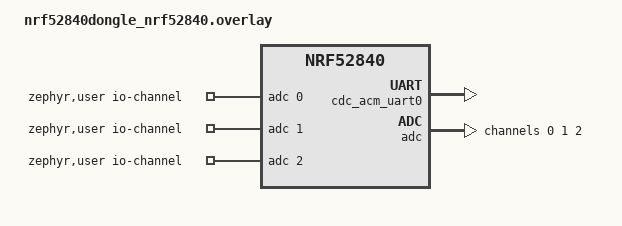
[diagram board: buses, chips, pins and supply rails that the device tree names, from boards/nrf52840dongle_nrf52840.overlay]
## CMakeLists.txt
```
# SPDX-License-Identifier: Apache-2.0
cmake_minimum_required(VERSION 3.20.0)
find_package(Zephyr HINTS $ENV{ZEPHYR_BASE})
project(ADC)
target_sources(app PRIVATE src/main.c)
target_sources(app PRIVATE src/my_lbs.c)
target_sources(app PRIVATE src/adc.c)
zephyr_library_include_directories(.)
```

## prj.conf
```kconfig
# Logger module
CONFIG_LOG=y

# Button and LED library   
CONFIG_DK_LIBRARY=y


CONFIG_ADC=y

CONFIG_BT=y
CONFIG_BT_PERIPHERAL=y
CONFIG_BT_DEVICE_NAME="Group15"

# Increase stack size for the main thread and System Workqueue
CONFIG_SYSTEM_WORKQUEUE_STACK_SIZE=2048
CONFIG_MAIN_STACK_SIZE=2048
CONFIG_BT_BUF_ACL_TX_SIZE=251
CONFIG_BT_BUF_ACL_RX_SIZE=251
CONFIG_BT_L2CAP_TX_BUF_COUNT=128
CONFIG_BT_MAX_CONN=2
```

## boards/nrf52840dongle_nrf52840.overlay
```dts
/*
 * Copyright (c) 2021 Nordic Semiconductor ASA
 *
 * SPDX-License-Identifier: LicenseRef-Nordic-5-Clause
 */

/ {
	chosen {
		zephyr,console = &cdc_acm_uart0;
	};
};
/{
	zephyr,user {
		io-channels = <&adc 0>, <&adc 1>, <&adc 2>;
	};
};

&zephyr_udc0 {
	cdc_acm_uart0: cdc_acm_uart0 {
		compatible = "zephyr,cdc-acm-uart";
	};
};
&adc {
	status = "okay";
	#address-cells = <1>;
	#size-cells = <0>;

	channel@0 {
		reg = <0>;
		zephyr,gain = "ADC_GAIN_1_6";
		zephyr,reference = "ADC_REF_INTERNAL";
		zephyr,acquisition-time = <ADC_ACQ_TIME_DEFAULT>;
		zephyr,input-positive = <NRF_SAADC_AIN0>; /* P0.03 */
		zephyr,resolution = <12>;
	};

	channel@1 {
		reg = <1>;
		zephyr,gain = "ADC_GAIN_1_6";
		zephyr,reference = "ADC_REF_INTERNAL";
		zephyr,acquisition-time = <ADC_ACQ_TIME_DEFAULT>;
		zephyr,input-positive = <NRF_SAADC_AIN1>;
		zephyr,resolution = <12>;
		//zephyr,oversampling = <8>;
	};

	channel@2 {
		reg = <2>;
		zephyr,gain = "ADC_GAIN_1_6";
		zephyr,reference = "ADC_REF_INTERNAL";
		zephyr,acquisition-time = <ADC_ACQ_TIME_DEFAULT>;
		zephyr,input-positive = <NRF_SAADC_AIN2>;
		zephyr,resolution = <12>;
		//zephyr,oversampling = <8>;
	};


};
```

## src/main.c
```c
/*
 * Copyright (c) 2020 Libre Solar Technologies GmbH
 *
 * SPDX-License-Identifier: Apache-2.0
 */
#include <zephyr/logging/log.h>
#include <dk_buttons_and_leds.h>
#include <inttypes.h>
#include <stddef.h>
#include <stdint.h>
#include <zephyr/kernel.h>
#include <zephyr/sys/printk.h>
#include <zephyr/sys/util.h>
#include "adc.h"
#include <zephyr/device.h>
#include <zephyr/devicetree.h>
#include <zephyr/logging/log.h>
#include <zephyr/bluetooth/bluetooth.h>
#include <zephyr/bluetooth/gap.h>
#include <zephyr/bluetooth/uuid.h>
#include <zephyr/bluetooth/conn.h>
#include <math.h>
#include "my_lbs.h"
#include "centerPoints.h"
#include "centerPoints.h"

#define USER_BUTTON DK_BTN2_MSK
#define CON_STATUS_LED DK_LED2
#define USER_LED DK_LED3
static bool app_button_state;
static struct bt_le_adv_param *adv_param = BT_LE_ADV_PARAM(
    (BT_LE_ADV_OPT_CONNECTABLE | BT_LE_ADV_OPT_USE_IDENTITY),
    800,
    801,
    NULL);

LOG_MODULE_REGISTER(MAIN, LOG_LEVEL_INF);
	uint32_t i= 4;
#define STACKSIZE 1024
#define PRIORITY 7

static const struct bt_data ad[] = {
    BT_DATA_BYTES(BT_DATA_FLAGS, (BT_LE_AD_GENERAL | BT_LE_AD_NO_BREDR)),
    BT_DATA(BT_DATA_NAME_COMPLETE, CONFIG_BT_DEVICE_NAME, sizeof(CONFIG_BT_DEVICE_NAME) - 1),
};


static const struct bt_data sd[] = {
    BT_DATA_BYTES(BT_DATA_UUID128_ALL, BT_UUID_LBS_VAL),
};
bool pressed;
static void button_changed(uint32_t button_state, uint32_t has_changed)
{
	if (has_changed & USER_BUTTON) {
		if (pressed){
			pressed=false;
		/*uint32_t user_button_state = button_state & USER_BUTTON;
		my_lbs_send_button_state_indicate(user_button_state);
		app_button_state = user_button_state ? true : false;*/	
		send_data_button();
	}else {
		pressed = true;
	}}
}

int indexOF(int arr[]){
	int koko = sizeof(arr) + 2;
	int min = arr[0];
	for (int i = 0; i < koko; i++){
		if (min>arr[i]){
			min = arr[i];
		}
	}
	for (int i = 0; i < koko; i++){
		if (arr[i] == min){
			return i;
		}
	}
}

int suunta(int x, int y, int z){
	int lahin[6];
	lahin[0] = sqrt(pow((x-centerpoint[0][0]),2)+ pow((y-centerpoint[0][1]),2)+pow((z-centerpoint[0][2]),2));
	lahin[1] = sqrt(pow((x-centerpoint[1][0]),2)+ pow((y-centerpoint[1][1]),2)+pow((z-centerpoint[1][2]),2));
	lahin[2] = sqrt(pow((x-centerpoint[2][0]),2)+ pow((y-centerpoint[2][1]),2)+pow((z-centerpoint[2][2]),2));
	lahin[3] = sqrt(pow((x-centerpoint[3][0]),2)+ pow((y-centerpoint[3][1]),2)+pow((z-centerpoint[3][2]),2));
	lahin[4] = sqrt(pow((x-centerpoint[4][0]),2)+ pow((y-centerpoint[4][1]),2)+pow((z-centerpoint[4][2]),2));
	lahin[5] = sqrt(pow((x-centerpoint[5][0]),2)+ pow((y-centerpoint[5][1]),2)+pow((z-centerpoint[5][2]),2));
	int xyz = (x-centerpoint[0][0]);
	int mininumValue = indexOF(lahin);
	return mininumValue;
}

static int init_button(void)
{
	int err;

	err = dk_buttons_init(button_changed);
	if (err) {
		printk("Cannot init buttons (err: %d)\n", err);
	}

	return err;
}

static void on_connected(struct bt_conn *conn, uint8_t err)
{
	if (err) {
		printk("Connection failed (err %u)\n", err);
		return;
	}

	printk("Connected\n");

	dk_set_led_on(CON_STATUS_LED);
}

static void on_disconnected(struct bt_conn *conn, uint8_t reason)
{
	printk("Disconnected (reason %u)\n", reason);

	dk_set_led_off(CON_STATUS_LED);
}

struct bt_conn_cb connection_callbacks = {
	.connected = on_connected,
	.disconnected = on_disconnected,
};

static void simulate_data(struct Measurement *measurement)
{
    *measurement = readADCValue();
}
static void app_led_cb(bool led_state)
{
	dk_set_led(USER_LED, led_state);
}

static bool app_button_cb(void)
{

	return app_button_state;
}

void send_data_thread(void)
{
	while(1){
	struct Measurement m = readADCValue();
        //my_lbs_send_sensor_notify(m.x, m.y,m.z,i);
        buttonprint();
		k_sleep(K_SECONDS(2));
        //printk("x = %d,  y = %d,  z = %d, suunta= %d\n", m.x, m.y, m.z,i);
	}
}
void buttonprint(void){
	struct Measurement m = readADCValue();
    
    printk("x = %d,  y = %d,  z = %d, suunta= %d\n", m.x, m.y, m.z, suunta(m.x, m.y, m.z));
}

void send_data_button(void)
{
	/*for (int a = 0; a < 50; ++a) {
        send_data_thread();
		k_sleep(K_SECONDS(0.1));
	}
	i++;*/
	buttonprint();
}
static struct my_lbs_cb app_callbacks = {
	.led_cb = app_led_cb,
	.button_cb = app_button_cb,
};


void main(void)
{
    int blink_status = 0;
    int err;

    LOG_INF("Starting Main\n");

	if(initializeADC() != 0)
	{
	printk("ADC initialization failed!");
	return;
	}

    err = init_button();
	if (err) {
		printk("Button init failed (err %d)\n", err);
		return;
	}
    
    err = bt_enable(NULL);
	if (err) {
		LOG_ERR("Bluetooth init failed (err %d)\n", err);
		return;
	}
	bt_conn_cb_register(&connection_callbacks);

	err = my_lbs_init(&app_callbacks);
	if (err) {
		printk("Failed to init LBS (err:%d)\n", err);
		return;
	}
	LOG_INF("Bluetooth initialized\n");
    err = bt_le_adv_start(adv_param, ad, ARRAY_SIZE(ad), sd, ARRAY_SIZE(sd));
    if (err)
    {
        LOG_ERR("Advertising failed to start (err %d)\n", err);
        return;
    }

    LOG_INF("Advertising successfully started\n");
}
K_THREAD_DEFINE(send_data_thread_id, STACKSIZE, send_data_thread, NULL, NULL, NULL, PRIORITY, 0, 0);
```

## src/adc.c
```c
#include <zephyr/device.h>
#include <zephyr/devicetree.h>
#include <zephyr/drivers/adc.h>
#include <hal/nrf_saadc.h>
#include <zephyr/kernel.h>
#include <zephyr/sys/printk.h>
#include <zephyr/sys/util.h>
#include <zephyr/sys/printk.h>
#include "adc.h"

#if !DT_NODE_EXISTS(DT_PATH(zephyr_user)) || \
	!DT_NODE_HAS_PROP(DT_PATH(zephyr_user), io_channels)
#error "No suitable devicetree overlay specified"
#endif

#define DT_SPEC_AND_COMMA(node_id, prop, idx) \
	ADC_DT_SPEC_GET_BY_IDX(node_id, idx),

static const struct adc_dt_spec adc_channels[] = {
	DT_FOREACH_PROP_ELEM(DT_PATH(zephyr_user), io_channels,
			     DT_SPEC_AND_COMMA)
};

void printDebugInfo(void)
{
   printk("printing first adc_dt_spec structure contents for all channels\n");
   for(int i = 0;i<3;i++)
   {
   printk("adc_dt_spec structure, channel %d = \n",i);
   printk("Device pointer = %p\n",adc_channels[1].dev);
   printk("Channel Id = %d\n",adc_channels[i].channel_id);
   printk("Voltage reference = %d\n",adc_channels[i].vref_mv);
   printk("Resolution = %d\n",adc_channels[i].resolution);
   printk("Oversampling = %d\n",adc_channels[i].oversampling);
   printk("\n\n");
   }

}

int initializeADC(void)
{

    int err;
	
	for (size_t i = 0U; i < ARRAY_SIZE(adc_channels); i++) {
		if (!device_is_ready(adc_channels[i].dev)) {
			printk("ADC controller device not ready\n");
			return -1;
		}

		err = adc_channel_setup_dt(&adc_channels[i]);
		if (err < 0) {
			printk("Could not setup channel #%d (%d)\n", i, err);
			return -1;
		}
	}

    return 0;

}

struct Measurement readADCValue(void)
{
	int16_t buf;
    struct Measurement m;
    struct adc_sequence sequence = {
	  .buffer = &buf,

	  .buffer_size = sizeof(buf),
    };

    printk("ADC reading:\n");
	for (size_t i = 0U; i < ARRAY_SIZE(adc_channels); i++) 
    {
		int err;
        int32_t val_mv;
        // For debug use... 
		/*
        printk("- %s, channel %d: ",
		       adc_channels[i].dev->name,
		       adc_channels[i].channel_id);
        */

		(void)adc_sequence_init_dt(&adc_channels[i], &sequence);

		err = adc_read(adc_channels[i].dev, &sequence);
		if (err < 0) {
			printk("Could not read (%d)\n", err);
			continue;
		} else {
            if(i==0)
            {
                m.x = val_mv;
            }
            else if (i==1)
            {
                m.y = val_mv;
            }
            else if (i==2)
            {
                m.z = val_mv;
            }           
			//printk("%"PRId16, buf);
		}

		
		val_mv = buf;
		err = adc_raw_to_millivolts_dt(&adc_channels[i],&val_mv);
		if (err < 0) 
        {
			printk(" (value in mV not available)\n");
		} 
        else 
        {
			if(i==0)
            {
                m.x = val_mv;
            }
            else if (i==1)
            {
               m.y = val_mv;
            }
            else if (i==2)
            {
                m.z = val_mv;
            }           
            //printk(" = %"PRId32" mV\n", val_mv);
		}
	}
    return m;
}
```

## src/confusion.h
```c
#ifndef CONFUSION
#define CONFUSION

//x,y,z,suunta
int values[][4] = {
    {1596, 1307, 1707, 1},
    {1597, 1299, 1698, 1},
    {1593, 1299, 1706, 1},
    {1603, 1299, 1705, 1},
    {1597, 1299, 1703, 1},
    {1595, 1304, 1697, 1},
    {1606, 1295, 1702, 1},
    {1610, 1300, 1699, 1},
    {1603, 1302, 1700, 1},
    {1609, 1602, 2021, 2},
    {1605, 1606, 2019, 2},
    {1612, 1603, 2020, 2},
    {1610, 1597, 2017, 2},
    {1611, 1601, 2020, 2},
    {1606, 1609, 2017, 2},
    {1608, 1605, 2012, 2},
    {1611, 1600, 2011, 2},
    {1618, 1607, 2019, 2},
    {1608, 1604, 2018, 2},
    {1611, 1596, 2028, 2},
    {1626, 1985, 1701, 3},
    {1616, 1992, 1702, 3},
    {1629, 1976, 1706, 3},
    {1626, 1989, 1704, 3},
    {1625, 1978, 1701, 3},
    {1623, 1990, 1698, 3},
    {1619, 1993, 1698, 3},
    {1624, 1978, 1694, 3},
    {1624, 1972, 1698, 3},
    {1624, 1974, 1698, 3},
    {1627, 1971, 1703, 3},
    {1617, 1662, 1362, 4},
    {1609, 1663, 1358, 4},
    {1611, 1665, 1364, 4},
    {1613, 1664, 1359, 4},
    {1613, 1662, 1365, 4},
    {1615, 1676, 1362, 4},
    {1614, 1669, 1371, 4},
    {1612, 1663, 1366, 4},
    {1614, 1666, 1371, 4},
    {1611, 1667, 1353, 4},
    {1611, 1662, 1359, 4},
    {1963, 1622, 1697, 5},
    {1963, 1631, 1701, 5},
    {1956, 1626, 1701, 5},
    {1958, 1625, 1693, 5},
    {1965, 1629, 1698, 5},
    {1960, 1627, 1699, 5},
    {1965, 1622, 1693, 5},
    {1974, 1609, 1696, 5},
    {1973, 1625, 1701, 5},
    {1971, 1625, 1714, 5},
    {1960, 1625, 1692, 5},
    {1291, 1652, 1705, 6},
    {1283, 1644, 1704, 6},
    {1291, 1655, 1700, 6},
    {1278, 1639, 1698, 6},
    {1290, 1654, 1704, 6},
    {1281, 1654, 1699, 6},
    {1287, 1654, 1693, 6},
    {1278, 1652, 1700, 6},
    {1286, 1652, 1700, 6},
    {1276, 1654, 1696, 6},
    {1284, 1647, 1705, 6}
};
#endif //CONFUSION
```

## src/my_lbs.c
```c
/*
 * Copyright (c) 2018 Nordic Semiconductor ASA
 *
 * SPDX-License-Identifier: LicenseRef-Nordic-5-Clause
 */

/** @file
 *  @brief LED Button Service (LBS) sample
 */

#include <zephyr/types.h>
#include <stddef.h>
#include <string.h>
#include <errno.h>
#include <zephyr/sys/printk.h>
#include <zephyr/sys/byteorder.h>
#include <zephyr/kernel.h>
#include <zephyr/logging/log.h>
#include <zephyr/bluetooth/bluetooth.h>
#include <zephyr/bluetooth/hci.h>
#include <zephyr/bluetooth/conn.h>
#include <zephyr/bluetooth/uuid.h>
#include <zephyr/bluetooth/gatt.h>
#include "my_lbs.h"


LOG_MODULE_DECLARE(Lesson4_Exercise2);

static uint32_t custom_value[4];
static bool notify_enabled;
static bool notify_mysensor_enabled;
static bool indicate_enabled;
static bool button_state;
static struct my_lbs_cb lbs_cb;

/* STEP 4 - Define an indication parameter */
static struct bt_gatt_indicate_params ind_params;

/* STEP 3 - Implement the configuration change callback function */
static void mylbsbc_ccc_cfg_changed(const struct bt_gatt_attr *attr, uint16_t value)
{
	indicate_enabled = (value == BT_GATT_CCC_INDICATE);
}

/* STEP 13 - Define the configuration change callback function for the MYSENSOR characteristic */
static void mylbsbc_ccc_mysensor_cfg_changed(const struct bt_gatt_attr *attr, uint16_t value)
{
	notify_mysensor_enabled = (value == BT_GATT_CCC_NOTIFY);
}

// This function is called when a remote device has acknowledged the indication at its host layer
static void indicate_cb(struct bt_conn *conn, struct bt_gatt_indicate_params *params, uint8_t err)
{
	LOG_DBG("Indication %s\n", err != 0U ? "fail" : "success");
}
static ssize_t write_led(struct bt_conn *conn, const struct bt_gatt_attr *attr, const void *buf,
			 uint16_t len, uint16_t offset, uint8_t flags)
{
	LOG_DBG("Attribute write, handle: %u, conn: %p", attr->handle, (void *)conn);

	if (len != 1U) {
		LOG_DBG("Write led: Incorrect data length");
		return BT_GATT_ERR(BT_ATT_ERR_INVALID_ATTRIBUTE_LEN);
	}

	if (offset != 0) {
		LOG_DBG("Write led: Incorrect data offset");
		return BT_GATT_ERR(BT_ATT_ERR_INVALID_OFFSET);
	}

	if (lbs_cb.led_cb) {
		// Read the received value
		uint8_t val = *((uint8_t *)buf);

		if (val == 0x00 || val == 0x01) {
			// Call the application callback function to update the LED state
			lbs_cb.led_cb(val ? true : false);
		} else {
			LOG_DBG("Write led: Incorrect value");
			return BT_GATT_ERR(BT_ATT_ERR_VALUE_NOT_ALLOWED);
		}
	}

	return len;
}

static ssize_t read_button(struct bt_conn *conn, const struct bt_gatt_attr *attr, void *buf,
			   uint16_t len, uint16_t offset)
{
	// get a pointer to button_state which is passed in the BT_GATT_CHARACTERISTIC() and stored in attr->user_data
	const char *value = attr->user_data;

	LOG_DBG("Attribute read, handle: %u, conn: %p", attr->handle, (void *)conn);

	if (lbs_cb.button_cb) {
		// Call the application callback function to update the get the current value of the button
		button_state = lbs_cb.button_cb();
		return bt_gatt_attr_read(conn, attr, buf, len, offset, value, sizeof(*value));
	}

	return 0;
}

/* LED Button Service Declaration */
BT_GATT_SERVICE_DEFINE(
	my_lbs_svc, BT_GATT_PRIMARY_SERVICE(BT_UUID_LBS),
	/* STEP 1 - Modify the Button characteristic declaration to support indication */
	BT_GATT_CHARACTERISTIC(BT_UUID_LBS_BUTTON, BT_GATT_CHRC_READ | BT_GATT_CHRC_INDICATE,
			       BT_GATT_PERM_READ, read_button, NULL, &button_state),
	/* STEP 2 - Create and add the Client Characteristic Configuration Descriptor */
	BT_GATT_CCC(mylbsbc_ccc_cfg_changed, BT_GATT_PERM_READ | BT_GATT_PERM_WRITE),

	BT_GATT_CHARACTERISTIC(BT_UUID_LBS_LED, BT_GATT_CHRC_WRITE, BT_GATT_PERM_WRITE, NULL,
			       write_led, NULL),
	/* STEP 12 - Create and add the MYSENSOR characteristic and its CCCD  */
	BT_GATT_CHARACTERISTIC(BT_UUID_LBS_MYSENSOR, BT_GATT_CHRC_NOTIFY, BT_GATT_PERM_NONE, NULL,
			       NULL, &custom_value),

	BT_GATT_CCC(mylbsbc_ccc_mysensor_cfg_changed, BT_GATT_PERM_READ | BT_GATT_PERM_WRITE),

);
/* A function to register application callbacks for the LED and Button characteristics  */
int my_lbs_init(struct my_lbs_cb *callbacks)
{
	if (callbacks) {
		lbs_cb.led_cb = callbacks->led_cb;
		lbs_cb.button_cb = callbacks->button_cb;
	}

	return 0;
}

/* STEP 5 - Define the function to send indications */
int my_lbs_send_button_state_indicate(bool button_state)
{
	if (!indicate_enabled) {
		return -EACCES;
	}
	ind_params.attr = &my_lbs_svc.attrs[2];
	ind_params.func = indicate_cb; // A remote device has ACKed at its host layer (ATT ACK)
	ind_params.destroy = NULL;
	ind_params.data = &button_state;
	ind_params.len = sizeof(button_state);
	return bt_gatt_indicate(NULL, &ind_params);
}

/* STEP 14 - Define the function to send notifications for the MYSENSOR characteristic */
int my_lbs_send_sensor_notify(uint32_t x, uint32_t y,uint32_t z,uint32_t a)
{
	if (!notify_mysensor_enabled) {
		return -EACCES;
	}
	custom_value[0]=x;
	custom_value[1]=y;
	custom_value[2]=z;
	custom_value[3]=a;
	//int len = snprintf(custom_value, sizeof(custom_value), "%d,%d,%d", x, y, z);

	return bt_gatt_notify(NULL, &my_lbs_svc.attrs[7], custom_value, sizeof(custom_value));
}
```

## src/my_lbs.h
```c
/*
 * Copyright (c) 2018 Nordic Semiconductor ASA
 *
 * SPDX-License-Identifier: LicenseRef-Nordic-5-Clause
 */

#ifndef BT_LBS_H_
#define BT_LBS_H_

#ifdef __cplusplus
extern "C" {
#endif

#include <zephyr/types.h>

/** @brief LBS Service UUID. */
#define BT_UUID_LBS_VAL BT_UUID_128_ENCODE(0x00001523, 0x1212, 0xefde, 0x1523, 0x785feabcd123)

/** @brief Button Characteristic UUID. */
#define BT_UUID_LBS_BUTTON_VAL                                                                     \
	BT_UUID_128_ENCODE(0x00001524, 0x1212, 0xefde, 0x1523, 0x785feabcd123)

/** @brief LED Characteristic UUID. */
#define BT_UUID_LBS_LED_VAL BT_UUID_128_ENCODE(0x00001525, 0x1212, 0xefde, 0x1523, 0x785feabcd123)

/* STEP 11.1 - Assign a UUID to the MYSENSOR characteristic */
/** @brief LED Characteristic UUID. */
#define BT_UUID_LBS_MYSENSOR_VAL                                                                   \
	BT_UUID_128_ENCODE(0x00001526, 0x1212, 0xefde, 0x1523, 0x785feabcd123)

#define BT_UUID_LBS BT_UUID_DECLARE_128(BT_UUID_LBS_VAL)
#define BT_UUID_LBS_BUTTON BT_UUID_DECLARE_128(BT_UUID_LBS_BUTTON_VAL)
#define BT_UUID_LBS_LED BT_UUID_DECLARE_128(BT_UUID_LBS_LED_VAL)
/* STEP 11.2 - Convert the array to a generic UUID */
#define BT_UUID_LBS_MYSENSOR BT_UUID_DECLARE_128(BT_UUID_LBS_MYSENSOR_VAL)

/** @brief Callback type for when an LED state change is received. */
typedef void (*led_cb_t)(const bool led_state);

/** @brief Callback type for when the button state is pulled. */
typedef bool (*button_cb_t)(void);

/** @brief Callback struct used by the LBS Service. */
struct my_lbs_cb {
	/** LED state change callback. */
	led_cb_t led_cb;
	/** Button read callback. */
	button_cb_t button_cb;
};

int my_lbs_init(struct my_lbs_cb *callbacks);

int my_lbs_send_button_state_indicate(bool button_state);

int my_lbs_send_button_state_notify(bool button_state);

int my_lbs_send_sensor_notify(uint32_t x, uint32_t y,uint32_t z, uint32_t a);

#ifdef __cplusplus
}
#endif

/**
 * @}
 */

#endif /* BT_LBS_H_ */
```
